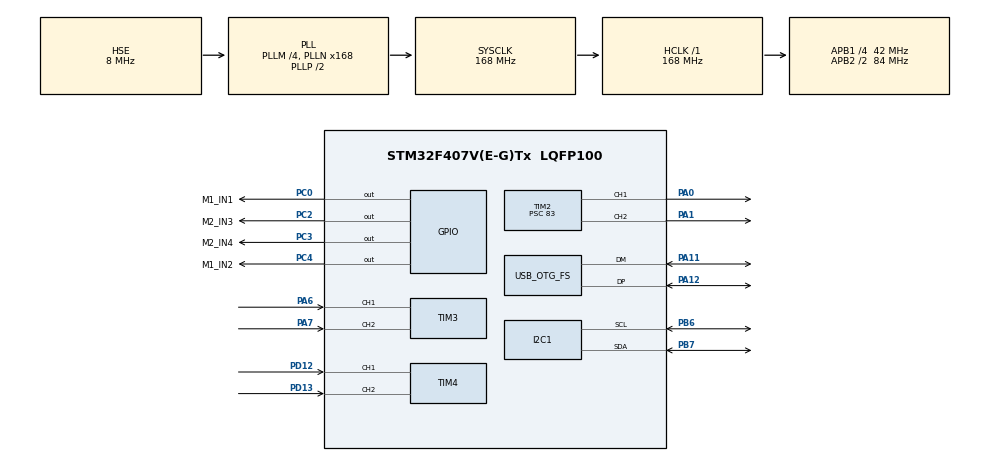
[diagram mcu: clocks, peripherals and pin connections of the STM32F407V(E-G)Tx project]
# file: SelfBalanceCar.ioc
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I2C1.I2C_Mode=I2C_Fast
Mcu.Family=STM32F4
Mcu.Name=STM32F407V(E-G)Tx
Mcu.Package=LQFP100
NVIC.OTG_FS_IRQn=true\:0\:0\:false\:false\:true\:false\:true\:true
NVIC.PriorityGroup=NVIC_PRIORITYGROUP_4
NVIC.TIM5_IRQn=true\:0\:0\:false\:false\:true\:true\:true\:true
PA0-WKUP.Signal=S_TIM2_CH1_ETR
PA1.Signal=S_TIM2_CH2
PA11.Mode=Device_Only
PA11.Signal=USB_OTG_FS_DM
PA12.Mode=Device_Only
PA12.Signal=USB_OTG_FS_DP
PA6.Signal=S_TIM3_CH1
PA7.Signal=S_TIM3_CH2
PB6.Mode=I2C
PB6.Signal=I2C1_SCL
PB7.Mode=I2C
PB7.Signal=I2C1_SDA
PC0.GPIO_Label=M1_IN1
PC0.Signal=GPIO_Output
PC2.GPIO_Label=M2_IN3
PC2.Signal=GPIO_Output
PC3.GPIO_Label=M2_IN4
PC3.Signal=GPIO_Output
PC4.GPIO_Label=M1_IN2
PC4.Signal=GPIO_Output
PD12.Signal=S_TIM4_CH1
PD13.Signal=S_TIM4_CH2
PH0-OSC_IN.Mode=HSE-External-Oscillator
PH0-OSC_IN.Signal=RCC_OSC_IN
PH1-OSC_OUT.Mode=HSE-External-Oscillator
PH1-OSC_OUT.Signal=RCC_OSC_OUT
ProjectManager.HeapSize=0x200
ProjectManager.StackSize=0x400
ProjectManager.TargetToolchain=STM32CubeIDE
RCC.48MHZClocksFreq_Value=48000000
RCC.AHBFreq_Value=168000000
RCC.APB1CLKDivider=RCC_HCLK_DIV4
RCC.APB1Freq_Value=42000000
RCC.APB1TimFreq_Value=84000000
RCC.APB2CLKDivider=RCC_HCLK_DIV2
RCC.APB2Freq_Value=84000000
RCC.APB2TimFreq_Value=168000000
RCC.CortexFreq_Value=168000000
RCC.HCLKFreq_Value=168000000
RCC.HSE_VALUE=8000000
RCC.HSI_VALUE=16000000
RCC.LSE_VALUE=32768
RCC.PLLM=4
RCC.PLLN=168
RCC.PLLQ=7
RCC.SYSCLKFreq_VALUE=168000000
RCC.SYSCLKSource=RCC_SYSCLKSOURCE_PLLCLK
RCC.VCOOutputFreq_Value=336000000
SH.S_TIM2_CH1_ETR.0=TIM2_CH1,PWM Generation1 CH1
SH.S_TIM2_CH2.0=TIM2_CH2,PWM Generation2 CH2
SH.S_TIM3_CH1.0=TIM3_CH1,Encoder_Interface
SH.S_TIM3_CH2.0=TIM3_CH2,Encoder_Interface
SH.S_TIM4_CH1.0=TIM4_CH1,Encoder_Interface
SH.S_TIM4_CH2.0=TIM4_CH2,Encoder_Interface
TIM2.Channel-PWM\ Generation1\ CH1=TIM_CHANNEL_1
TIM2.Channel-PWM\ Generation2\ CH2=TIM_CHANNEL_2
TIM2.Period=999
TIM2.Prescaler=83
TIM3.EncoderMode=TIM_ENCODERMODE_TI12
TIM4.EncoderMode=TIM_ENCODERMODE_TI12
TIM5.Period=4999
TIM5.Prescaler=83
USB_DEVICE.CLASS_NAME_FS=CDC
USB_DEVICE.VirtualMode-CDC_FS=Cdc
USB_DEVICE.VirtualModeFS=Cdc_FS
USB_OTG_FS.VirtualMode=Device_Only
VP_TIM5_VS_ClockSourceINT.Mode=Internal
VP_USB_DEVICE_VS_USB_DEVICE_CDC_FS.Mode=CDC_FS
board=custom

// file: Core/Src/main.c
/* USER CODE BEGIN Header */
/**
  ******************************************************************************
  * @file           : main.c
  * @brief          : Main program body
  ******************************************************************************
  * @attention
  *
  * Copyright (c) 2025 STMicroelectronics.
  * All rights reserved.
  *
  * This software is licensed under terms that can be found in the LICENSE file
  * in the root directory of this software component.
  * If no LICENSE file comes with this software, it is provided AS-IS.
  *
  ******************************************************************************
  */
/* USER CODE END Header */
#include "main.h"
#include "usb_device.h"

/* USER CODE BEGIN Includes */
#include "math.h"
#include "usbd_cdc_if.h"
/* USER CODE END Includes */

I2C_HandleTypeDef hi2c1;

TIM_HandleTypeDef htim2;
TIM_HandleTypeDef htim3;
TIM_HandleTypeDef htim4;
TIM_HandleTypeDef htim5;

/* USER CODE BEGIN PV */
#define MPU6050_ADDR 0xD0
int16_t Accel_Y_RAW, Accel_Z_RAW;
int16_t Gyro_X_RAW;
float Ax, Gx;
float Angle_Balance = 0;

float Kp_Ang = 10, Ki_Ang =  0.1, Kd_Ang = 0.34;
float Setpoint_Ang = 2;
float Error_Ang = 0, Last_Error_Ang = 0, Integral_Ang = 0;
float Target_Speed = 0;

float Kp_Spd = 0.93, Ki_Spd = 0.36, Kd_Spd = 0;
float Current_Speed = 0;
float Error_Spd = 0, Integral_Spd = 0, Last_Error_Spd = 0;
float PWM_Out = 0;

float count1 = 0;
float count2 = 0;
char buffer[64];
#define M1_IN1_PORT GPIOC
#define M1_IN1_PIN  GPIO_PIN_0
#define M1_IN2_PORT GPIOC
#define M1_IN2_PIN  GPIO_PIN_4
#define M1_TIMER_PWM &htim2
#define M1_TIMER_CHANNEL TIM_CHANNEL_1
#define M2_IN3_PORT GPIOC
#define M2_IN3_PIN  GPIO_PIN_2
#define M2_IN4_PORT GPIOC
#define M2_IN4_PIN  GPIO_PIN_3
#define M2_TIMER_PWM &htim2
#define M2_TIMER_CHANNEL TIM_CHANNEL_2

#define PWM_MAX_VALUE 999
volatile uint8_t flag_run_pid = 0;
/* USER CODE END PV */

void SystemClock_Config(void);
static void MX_GPIO_Init(void);
static void MX_TIM2_Init(void);
static void MX_TIM3_Init(void);
static void MX_TIM4_Init(void);
static void MX_I2C1_Init(void);
static void MX_TIM5_Init(void);

/* USER CODE BEGIN 0 */
extern uint8_t g_usb_rx_buffer[64];
extern volatile uint8_t g_usb_rx_flag;
void USB_SendString(char* str)
{
    CDC_Transmit_FS((uint8_t*)str, strlen(str));
}
void MPU6050_Init(void) {
    uint8_t check = 0;
    uint8_t data;
    HAL_StatusTypeDef ret = HAL_I2C_Mem_Read(&hi2c1, MPU6050_ADDR, 0x75, 1, &check, 1, 1000);

    if (ret != HAL_OK) {
        USB_SendString("Error: I2C Connect Failed! Check wires.\r\n");
    }
    else if (check == 0x68) {
        data = 0;
        HAL_I2C_Mem_Write(&hi2c1, MPU6050_ADDR, 0x6B, 1, &data, 1, 1000);
        data = 0x00;
        HAL_I2C_Mem_Write(&hi2c1, MPU6050_ADDR, 0x1B, 1, &data, 1, 1000);

        USB_SendString("MPU6050 Init: OK (Found 0x68)\r\n");
    } else {
        char msg[64];
        sprintf(msg, "Error: Wrong ID! Read: 0x%02X (Expected 0x68)\r\n", check);
        USB_SendString(msg);
    }
}

void Read_Sensor(void) {
    uint8_t Rec_Data[14];
    HAL_I2C_Mem_Read(&hi2c1, MPU6050_ADDR, 0x3B, 1, Rec_Data, 14, 1000);
    Accel_Y_RAW = (int16_t)(Rec_Data[2] << 8 | Rec_Data[3]);
    Accel_Z_RAW = (int16_t)(Rec_Data[4] << 8 | Rec_Data[5]);
    Gyro_X_RAW = (int16_t)(Rec_Data[8] << 8 | Rec_Data[9]);
    Ax = atan2(Accel_Y_RAW, Accel_Z_RAW) * 57.296;
    Gx = Gyro_X_RAW / 131.0;
}

void HAL_TIM_PeriodElapsedCallback(TIM_HandleTypeDef *htim) {
	if (htim->Instance == TIM5) {
	      flag_run_pid = 1;
	  }
}

void Control_Motor(int motor_num, char direction, int percentage)
{
  if (percentage < 0)   percentage = 0;
  if (percentage > 100) percentage = 100;

  if (direction == 'S') {
	  percentage = 0;
  }
  uint32_t pwm_value = (uint32_t)(percentage * PWM_MAX_VALUE / 100.0);
  if (motor_num == 1)
  {
      if (direction == 'F')
      {
          HAL_GPIO_WritePin(M1_IN1_PORT, M1_IN1_PIN, GPIO_PIN_SET);
          HAL_GPIO_WritePin(M1_IN2_PORT, M1_IN2_PIN, GPIO_PIN_RESET);
      }
      else if (direction == 'R')
      {
          HAL_GPIO_WritePin(M1_IN1_PORT, M1_IN1_PIN, GPIO_PIN_RESET);
          HAL_GPIO_WritePin(M1_IN2_PORT, M1_IN2_PIN, GPIO_PIN_SET);
      }
      else
      {
          HAL_GPIO_WritePin(M1_IN1_PORT, M1_IN1_PIN, GPIO_PIN_RESET);
          HAL_GPIO_WritePin(M1_IN2_PORT, M1_IN2_PIN, GPIO_PIN_RESET);
      }

      __HAL_TIM_SET_COMPARE(M1_TIMER_PWM, M1_TIMER_CHANNEL, pwm_value);
  }
  else if (motor_num == 2)
  {
      // Đặt chiều quay
      if (direction == 'F')
      {
          HAL_GPIO_WritePin(M2_IN3_PORT, M2_IN3_PIN, GPIO_PIN_SET);
          HAL_GPIO_WritePin(M2_IN4_PORT, M2_IN4_PIN, GPIO_PIN_RESET);
      }
      else if (direction == 'R')
      {
          HAL_GPIO_WritePin(M2_IN3_PORT, M2_IN3_PIN, GPIO_PIN_RESET);
          HAL_GPIO_WritePin(M2_IN4_PORT, M2_IN4_PIN, GPIO_PIN_SET);
      }
      else
      {
          HAL_GPIO_WritePin(M2_IN3_PORT, M2_IN3_PIN, GPIO_PIN_RESET);
          HAL_GPIO_WritePin(M2_IN4_PORT, M2_IN4_PIN, GPIO_PIN_RESET);
      }
      __HAL_TIM_SET_COMPARE(M2_TIMER_PWM, M2_TIMER_CHANNEL, pwm_value);
  }
}
/* USER CODE END 0 */

int main(void)
{

  /* MCU Configuration--------------------------------------------------------*/

  /* Reset of all peripherals, Initializes the Flash interface and the Systick. */
  HAL_Init();

  /* Configure the system clock */
  SystemClock_Config();

  /* Initialize all configured peripherals */
  MX_GPIO_Init();
  MX_TIM2_Init();
  MX_TIM3_Init();
  MX_TIM4_Init();
  MX_USB_DEVICE_Init();
  MX_I2C1_Init();
  MX_TIM5_Init();
  /* USER CODE BEGIN 2 */
   HAL_TIM_PWM_Start(&htim2, TIM_CHANNEL_1);
   HAL_TIM_PWM_Start(&htim2, TIM_CHANNEL_2);
   __HAL_TIM_SET_COMPARE(&htim2, TIM_CHANNEL_1, 0);
   __HAL_TIM_SET_COMPARE(&htim2, TIM_CHANNEL_2, 0);
   HAL_TIM_Encoder_Start(&htim3, TIM_CHANNEL_ALL);
   HAL_TIM_Encoder_Start(&htim4, TIM_CHANNEL_ALL);
   MPU6050_Init();
      HAL_Delay(50);
   HAL_TIM_Base_Start_IT(&htim5);
  /* USER CODE END 2 */

  /* Infinite loop */
  /* USER CODE BEGIN WHILE */
  while (1)
  {
	  if (flag_run_pid == 1) {
	  flag_run_pid = 0;
	  float dt = 0.005;
	  	        Read_Sensor();
	  	        Angle_Balance = 0.98 * ((float)Angle_Balance + (float)Gx * dt) + 0.02 * (float)Ax;
	  	        Error_Ang = Angle_Balance - Setpoint_Ang;
	  	        Integral_Ang += Error_Ang * dt;
	  	        if (Integral_Ang > 100) Integral_Ang = 100;
	  	        if (Integral_Ang < -100) Integral_Ang = -100;
	  	        float Derivative_Ang = (Error_Ang - Last_Error_Ang) / dt;
	  	        Last_Error_Ang = Error_Ang;
	  	        Target_Speed = (Kp_Ang * Error_Ang) + (Ki_Ang * Integral_Ang) + (Kd_Ang * Derivative_Ang);
	  		  if (Target_Speed > 100) Target_Speed = 100;
	  		  if (Target_Speed < -100) Target_Speed = -100;
	  	        count1 = (int16_t)__HAL_TIM_GET_COUNTER(&htim3);
	  	        count2 = (int16_t)__HAL_TIM_GET_COUNTER(&htim4);
	  	        __HAL_TIM_SET_COUNTER(&htim3, 0);
	  	        __HAL_TIM_SET_COUNTER(&htim4, 0);
	  	        Current_Speed = (float)(count1 + count2) / 2.0;
	  	        Error_Spd = Target_Speed - Current_Speed;
	  	        Integral_Spd += Error_Spd * dt;
	  	        if (Integral_Spd > 200) Integral_Spd = 200;
	  	        if (Integral_Spd < -200) Integral_Spd = -200;
	  	        PWM_Out = (Kp_Spd * Error_Spd) + (Ki_Spd * Integral_Spd);
	  	        if (Angle_Balance > 80 || Angle_Balance < -80) {
	  	            PWM_Out = 0;
	  	            Integral_Ang = 0;
	  	            Integral_Spd = 0;
	  	            Last_Error_Ang = 0;
	  	            Last_Error_Spd = 0;
	  	            Target_Speed = 0;
	  	      }
	  	        int final_pwm = 0;
	  	        char dir = 'S';
	  	        if (PWM_Out > 0) {
	  	            dir = 'F';
	  	            final_pwm = (int)(PWM_Out);
	  	        } else if (PWM_Out < 0) {
	  	            dir = 'R';
	  	            final_pwm = (int)(-PWM_Out);
	  	        }
	  	      if (final_pwm > 100) final_pwm = 100;
	  	      if (final_pwm < -100) final_pwm = -100;
 	  	        if (final_pwm > 0 && final_pwm < 20) final_pwm = 30;
	  	        if (final_pwm < 0 && final_pwm > -20) final_pwm = -30;
	  	        Control_Motor(1, dir, final_pwm);
	  	        Control_Motor(2, dir, final_pwm);
	  }
    /* USER CODE END WHILE */

    /* USER CODE BEGIN 3 */
	  if (g_usb_rx_flag == 1)
	      {
	          g_usb_rx_flag = 0;
	          char type;
	          float value;
	          if (sscanf((char*)g_usb_rx_buffer, "%c %f", &type, &value) == 2)
	          {
	        	  switch(type) {
	        	  				  case 'A': case 'a': Kp_Ang = value; break;
	        	  				  case 'B': case 'b': Ki_Ang = value; break;
	        	  				  case 'C': case 'c': Kd_Ang = value; break;
	        	  				  case 'S': case 's': Setpoint_Ang = value; break;
 D
	        	  				  case 'P': case 'p': Kp_Spd = value; break;
	        	  				  case 'I': case 'i': Ki_Spd = value; break;
	        	  				  case 'D': case 'd': Kd_Spd = value; break;
	        	  			  }
	        	  			  char msg[64];
	              sprintf(msg, "SET: %c = %.2f\r\n", type, value);
	              USB_SendString(msg);
	              Error_Ang = 0; Integral_Ang = 0; Last_Error_Ang = 0;
	              Error_Spd = 0; Integral_Spd = 0; Last_Error_Spd = 0;
	          }
	      }

	      static uint32_t last_tick = 0;
	      if (HAL_GetTick() - last_tick > 100)
	      {
	          last_tick = HAL_GetTick();
	          char debug_msg[64];
	          sprintf(debug_msg, "Ang:%.2f, Speed:%.2f, PWM:%1f\r\n", Angle_Balance, Current_Speed, PWM_Out);
	          USB_SendString(debug_msg);
	      }
  }

  /* USER CODE END 3 */
}

void SystemClock_Config(void)
{
  RCC_OscInitTypeDef RCC_OscInitStruct = {0};
  RCC_ClkInitTypeDef RCC_ClkInitStruct = {0};

  /** Configure the main internal regulator output voltage
  */
  __HAL_RCC_PWR_CLK_ENABLE();
  __HAL_PWR_VOLTAGESCALING_CONFIG(PWR_REGULATOR_VOLTAGE_SCALE1);

  /** Initializes the RCC Oscillators according to the specified parameters
  * in the RCC_OscInitTypeDef structure.
  */
  RCC_OscInitStruct.OscillatorType = RCC_OSCILLATORTYPE_HSE;
  RCC_OscInitStruct.HSEState = RCC_HSE_ON;
  RCC_OscInitStruct.PLL.PLLState = RCC_PLL_ON;
  RCC_OscInitStruct.PLL.PLLSource = RCC_PLLSOURCE_HSE;
  RCC_OscInitStruct.PLL.PLLM = 4;
  RCC_OscInitStruct.PLL.PLLN = 168;
  RCC_OscInitStruct.PLL.PLLP = RCC_PLLP_DIV2;
  RCC_OscInitStruct.PLL.PLLQ = 7;
  if (HAL_RCC_OscConfig(&RCC_OscInitStruct) != HAL_OK)
  {
    Error_Handler();
  }

  /** Initializes the CPU, AHB and APB buses clocks
  */
  RCC_ClkInitStruct.ClockType = RCC_CLOCKTYPE_HCLK|RCC_CLOCKTYPE_SYSCLK
                              |RCC_CLOCKTYPE_PCLK1|RCC_CLOCKTYPE_PCLK2;
  RCC_ClkInitStruct.SYSCLKSource = RCC_SYSCLKSOURCE_PLLCLK;
  RCC_ClkInitStruct.AHBCLKDivider = RCC_SYSCLK_DIV1;
  RCC_ClkInitStruct.APB1CLKDivider = RCC_HCLK_DIV4;
  RCC_ClkInitStruct.APB2CLKDivider = RCC_HCLK_DIV2;

  if (HAL_RCC_ClockConfig(&RCC_ClkInitStruct, FLASH_LATENCY_5) != HAL_OK)
  {
    Error_Handler();
  }
}

static void MX_I2C1_Init(void)
{

  hi2c1.Instance = I2C1;
  hi2c1.Init.ClockSpeed = 400000;
  hi2c1.Init.DutyCycle = I2C_DUTYCYCLE_2;
  hi2c1.Init.OwnAddress1 = 0;
  hi2c1.Init.AddressingMode = I2C_ADDRESSINGMODE_7BIT;
  hi2c1.Init.DualAddressMode = I2C_DUALADDRESS_DISABLE;
  hi2c1.Init.OwnAddress2 = 0;
  hi2c1.Init.GeneralCallMode = I2C_GENERALCALL_DISABLE;
  hi2c1.Init.NoStretchMode = I2C_NOSTRETCH_DISABLE;
  if (HAL_I2C_Init(&hi2c1) != HAL_OK)
  {
    Error_Handler();
  }

}

static void MX_TIM2_Init(void)
{

  TIM_MasterConfigTypeDef sMasterConfig = {0};
  TIM_OC_InitTypeDef sConfigOC = {0};

  htim2.Instance = TIM2;
  htim2.Init.Prescaler = 83;
  htim2.Init.CounterMode = TIM_COUNTERMODE_UP;
  htim2.Init.Period = 999;
  htim2.Init.ClockDivision = TIM_CLOCKDIVISION_DIV1;
  htim2.Init.AutoReloadPreload = TIM_AUTORELOAD_PRELOAD_DISABLE;
  if (HAL_TIM_PWM_Init(&htim2) != HAL_OK)
  {
    Error_Handler();
  }
  sMasterConfig.MasterOutputTrigger = TIM_TRGO_RESET;
  sMasterConfig.MasterSlaveMode = TIM_MASTERSLAVEMODE_DISABLE;
  if (HAL_TIMEx_MasterConfigSynchronization(&htim2, &sMasterConfig) != HAL_OK)
  {
    Error_Handler();
  }
  sConfigOC.OCMode = TIM_OCMODE_PWM1;
  sConfigOC.Pulse = 0;
  sConfigOC.OCPolarity = TIM_OCPOLARITY_HIGH;
  sConfigOC.OCFastMode = TIM_OCFAST_DISABLE;
  if (HAL_TIM_PWM_ConfigChannel(&htim2, &sConfigOC, TIM_CHANNEL_1) != HAL_OK)
  {
    Error_Handler();
  }
  if (HAL_TIM_PWM_ConfigChannel(&htim2, &sConfigOC, TIM_CHANNEL_2) != HAL_OK)
  {
    Error_Handler();
  }
  HAL_TIM_MspPostInit(&htim2);

}

static void MX_TIM3_Init(void)
{

  TIM_Encoder_InitTypeDef sConfig = {0};
  TIM_MasterConfigTypeDef sMasterConfig = {0};

  htim3.Instance = TIM3;
  htim3.Init.Prescaler = 0;
  htim3.Init.CounterMode = TIM_COUNTERMODE_UP;
  htim3.Init.Period = 65535;
  htim3.Init.ClockDivision = TIM_CLOCKDIVISION_DIV1;
  htim3.Init.AutoReloadPreload = TIM_AUTORELOAD_PRELOAD_DISABLE;
  sConfig.EncoderMode = TIM_ENCODERMODE_TI12;
  sConfig.IC1Polarity = TIM_ICPOLARITY_RISING;
  sConfig.IC1Selection = TIM_ICSELECTION_DIRECTTI;
  sConfig.IC1Prescaler = TIM_ICPSC_DIV1;
  sConfig.IC1Filter = 0;
  sConfig.IC2Polarity = TIM_ICPOLARITY_RISING;
  sConfig.IC2Selection = TIM_ICSELECTION_DIRECTTI;
  sConfig.IC2Prescaler = TIM_ICPSC_DIV1;
  sConfig.IC2Filter = 0;
  if (HAL_TIM_Encoder_Init(&htim3, &sConfig) != HAL_OK)
  {
    Error_Handler();
  }
  sMasterConfig.MasterOutputTrigger = TIM_TRGO_RESET;
  sMasterConfig.MasterSlaveMode = TIM_MASTERSLAVEMODE_DISABLE;
  if (HAL_TIMEx_MasterConfigSynchronization(&htim3, &sMasterConfig) != HAL_OK)
  {
    Error_Handler();
  }

}

static void MX_TIM4_Init(void)
{

  TIM_Encoder_InitTypeDef sConfig = {0};
  TIM_MasterConfigTypeDef sMasterConfig = {0};

  htim4.Instance = TIM4;
  htim4.Init.Prescaler = 0;
  htim4.Init.CounterMode = TIM_COUNTERMODE_UP;
  htim4.Init.Period = 65535;
  htim4.Init.ClockDivision = TIM_CLOCKDIVISION_DIV1;
  htim4.Init.AutoReloadPreload = TIM_AUTORELOAD_PRELOAD_DISABLE;
  sConfig.EncoderMode = TIM_ENCODERMODE_TI12;
  sConfig.IC1Polarity = TIM_ICPOLARITY_RISING;
  sConfig.IC1Selection = TIM_ICSELECTION_DIRECTTI;
  sConfig.IC1Prescaler = TIM_ICPSC_DIV1;
  sConfig.IC1Filter = 0;
  sConfig.IC2Polarity = TIM_ICPOLARITY_RISING;
  sConfig.IC2Selection = TIM_ICSELECTION_DIRECTTI;
  sConfig.IC2Prescaler = TIM_ICPSC_DIV1;
  sConfig.IC2Filter = 0;
  if (HAL_TIM_Encoder_Init(&htim4, &sConfig) != HAL_OK)
  {
    Error_Handler();
  }
  sMasterConfig.MasterOutputTrigger = TIM_TRGO_RESET;
  sMasterConfig.MasterSlaveMode = TIM_MASTERSLAVEMODE_DISABLE;
  if (HAL_TIMEx_MasterConfigSynchronization(&htim4, &sMasterConfig) != HAL_OK)
  {
    Error_Handler();
  }

}

static void MX_TIM5_Init(void)
{

  TIM_ClockConfigTypeDef sClockSourceConfig = {0};
  TIM_MasterConfigTypeDef sMasterConfig = {0};

  htim5.Instance = TIM5;
  htim5.Init.Prescaler = 83;
  htim5.Init.CounterMode = TIM_COUNTERMODE_UP;
  htim5.Init.Period = 4999;
  htim5.Init.ClockDivision = TIM_CLOCKDIVISION_DIV1;
  htim5.Init.AutoReloadPreload = TIM_AUTORELOAD_PRELOAD_DISABLE;
  if (HAL_TIM_Base_Init(&htim5) != HAL_OK)
  {
    Error_Handler();
  }
  sClockSourceConfig.ClockSource = TIM_CLOCKSOURCE_INTERNAL;
  if (HAL_TIM_ConfigClockSource(&htim5, &sClockSourceConfig) != HAL_OK)
  {
    Error_Handler();
  }
  sMasterConfig.MasterOutputTrigger = TIM_TRGO_RESET;
  sMasterConfig.MasterSlaveMode = TIM_MASTERSLAVEMODE_DISABLE;
  if (HAL_TIMEx_MasterConfigSynchronization(&htim5, &sMasterConfig) != HAL_OK)
  {
    Error_Handler();
  }

}

static void MX_GPIO_Init(void)
{
  GPIO_InitTypeDef GPIO_InitStruct = {0};

  /* GPIO Ports Clock Enable */
  __HAL_RCC_GPIOH_CLK_ENABLE();
  __HAL_RCC_GPIOC_CLK_ENABLE();
  __HAL_RCC_GPIOA_CLK_ENABLE();
  __HAL_RCC_GPIOD_CLK_ENABLE();
  __HAL_RCC_GPIOB_CLK_ENABLE();

  /*Configure GPIO pin Output Level */
  HAL_GPIO_WritePin(GPIOC, M1_IN1_Pin|M2_IN3_Pin|M2_IN4_Pin|M1_IN2_Pin, GPIO_PIN_RESET);

  /*Configure GPIO pins : M1_IN1_Pin M2_IN3_Pin M2_IN4_Pin M1_IN2_Pin */
  GPIO_InitStruct.Pin = M1_IN1_Pin|M2_IN3_Pin|M2_IN4_Pin|M1_IN2_Pin;
  GPIO_InitStruct.Mode = GPIO_MODE_OUTPUT_PP;
  GPIO_InitStruct.Pull = GPIO_NOPULL;
  GPIO_InitStruct.Speed = GPIO_SPEED_FREQ_LOW;
  HAL_GPIO_Init(GPIOC, &GPIO_InitStruct);

}

void Error_Handler(void)
{
  __disable_irq();
  while (1)
  {
  }
}
